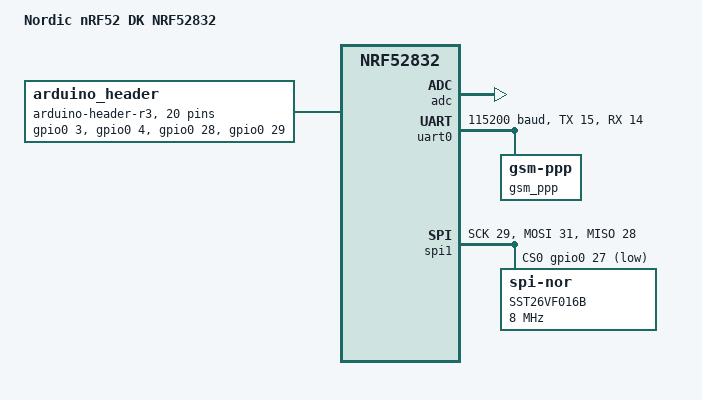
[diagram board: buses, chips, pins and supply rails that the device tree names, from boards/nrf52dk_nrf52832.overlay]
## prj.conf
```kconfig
# Ensure an MCUboot-compatible binary is generated.
CONFIG_NCS_SAMPLES_DEFAULTS=y

CONFIG_BT=y
CONFIG_BT_PERIPHERAL=y
CONFIG_BT_DEVICE_NAME="Nordic_LBS"

CONFIG_BT_BROADCASTER=y
CONFIG_BT_OBSERVER=y
CONFIG_BT_DEBUG_LOG=y

CONFIG_BT_LL_SW_SPLIT=y
CONFIG_BT_GATT_CLIENT=y

CONFIG_MAIN_STACK_SIZE= 10240

CONFIG_NFCT_PINS_AS_GPIOS=y
CONFIG_GPIO_AS_PINRESET=n
CONFIG_UART_INTERRUPT_DRIVEN=y
CONFIG_BOARD_ENABLE_DCDC=n
CONFIG_CLOCK_CONTROL_NRF_K32SRC_RC=y
CONFIG_CLOCK_CONTROL_NRF_K32SRC_XTAL=n

CONFIG_PM=y
CONFIG_PM_DEVICE=y

CONFIG_GPIO=y
CONFIG_NRFX_WDT=y
CONFIG_WATCHDOG=y

CONFIG_ADC=y


# Enable the LBS service
CONFIG_BT_LBS=y
CONFIG_BT_LBS_POLL_BUTTON=y
CONFIG_DK_LIBRARY=y

CONFIG_BOOTLOADER_MCUBOOT=y
CONFIG_LOG=y

CONFIG_SYSTEM_WORKQUEUE_STACK_SIZE= 8192

CONFIG_NORDIC_QSPI_NOR=n

CONFIG_FLASH=y
CONFIG_SPI=y
CONFIG_SPI_NOR=y
CONFIG_SPI_NOR_FLASH_LAYOUT_PAGE_SIZE=4096
CONFIG_SPI_NRFX_RAM_BUFFER_SIZE=32 

# Enable mcumgr.
CONFIG_MCUMGR=y

# Enable most core commands.
CONFIG_MCUMGR_CMD_IMG_MGMT=y
CONFIG_MCUMGR_CMD_OS_MGMT=y

# Ensure an MCUboot-compatible binary is generated.
CONFIG_BOOTLOADER_MCUBOOT=y

# Allow for large Bluetooth data packets.
CONFIG_BT_L2CAP_TX_MTU=252
CONFIG_BT_BUF_ACL_RX_SIZE=256

# Enable the Bluetooth (unauthenticated) and shell mcumgr transports.
CONFIG_MCUMGR_SMP_BT=y
CONFIG_MCUMGR_SMP_BT_AUTHEN=n



CONFIG_BOARD_ENABLE_DCDC=n
CONFIG_CLOCK_CONTROL_NRF_K32SRC_RC=y
CONFIG_CLOCK_CONTROL_NRF_K32SRC_XTAL=n
CONFIG_RTT_CONSOLE=y
CONFIG_UART_CONSOLE=n
CONFIG_JSON_LIBRARY=y

CONFIG_TINYCRYPT=y
CONFIG_TINYCRYPT_AES=y
CONFIG_TINYCRYPT_AES_CBC=y
CONFIG_CRYPTO=y
CONFIG_CRYPTO_TINYCRYPT_SHIM=y

# Allow for large Bluetooth data packets.
CONFIG_BT_L2CAP_TX_MTU=252
CONFIG_BT_BUF_ACL_RX_SIZE=256
#CONFIG_BT_SMP=y
#CONFIG_BT_SMP_APP_PAIRING_ACCEPT=y
#CONFIG_BT_FIXED_PASSKEY=y

CONFIG_BT_FILTER_ACCEPT_LIST=y
CONFIG_BT_CENTRAL=y
CONFIG_BT_SCAN=y
CONFIG_BT_SCAN_FILTER_ENABLE=y
CONFIG_BT_SCAN_NAME_CNT=1

CONFIG_BT_MAX_CONN=1
CONFIG_BT_CONN_CTX=y
CONFIG_BT_CONN_TX_MAX=10
CONFIG_BT_CREATE_CONN_TIMEOUT=100
CONFIG_BT_CONN_PARAM_UPDATE_TIMEOUT=10000
```

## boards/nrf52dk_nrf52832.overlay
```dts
/delete-node/ &slot0_partition;

/delete-node/ &slot1_partition;

/delete-node/ &boot_partition;
/*
 * Copyright (c) 2017 Shawn Nock <shawn@monadnock.ca>
 * Copyright (c) 2017 Linaro Limited
 *
 * SPDX-License-Identifier: Apache-2.0
 */


#include <nordic/nrf52832_qfaa.dtsi>

/ {
	model = "Nordic nRF52 DK NRF52832";
	compatible = "nordic,nrf52-dk-nrf52832";

	chosen {
		zephyr,console = &uart0;
		zephyr,shell-uart = &uart0;
		zephyr,uart-mcumgr = &uart0;
		zephyr,bt-mon-uart = &uart0;
		zephyr,bt-c2h-uart = &uart0;
		zephyr,sram = &sram0;
		zephyr,flash = &flash0;
		zephyr,code-partition = &slot0_partition;
		nordic,pm-ext-flash = &SST26VF016B;
	};

	leds {
		compatible = "gpio-leds";
		led0: led_0 {
			gpios = <&gpio0 17 GPIO_ACTIVE_LOW>;
			label = "Green LED 0";
			status = "disabled";
		};
		led1: led_1 {
			gpios = <&gpio0 18 GPIO_ACTIVE_LOW>;
			label = "Green LED 1";
			status = "disabled";
		};
		led2: led_2 {
			gpios = <&gpio0 19 GPIO_ACTIVE_LOW>;
			label = "Green LED 2";
			status = "disabled";
		};
		led3: led_3 {
			gpios = <&gpio0 20 GPIO_ACTIVE_LOW>;
			label = "Green LED 3";
			status = "disabled";
		};
	};

	pwmleds {
		compatible = "pwm-leds";
		pwm_led0: pwm_led_0 {
			pwms = <&pwm0 17>;
			status = "disabled";
		};
	};

	buttons {
		compatible = "gpio-keys";
		button0: button_0 {
			gpios = <&gpio0 13 (GPIO_PULL_UP | GPIO_ACTIVE_LOW)>;
			label = "Push button switch 0";
			status = "disabled";
		};
		button1: button_1 {
			gpios = <&gpio0 14 (GPIO_PULL_UP | GPIO_ACTIVE_LOW)>;
			label = "Push button switch 1";
			status = "disabled";
		};
		button2: button_2 {
			gpios = <&gpio0 15 (GPIO_PULL_UP | GPIO_ACTIVE_LOW)>;
			label = "Push button switch 2";
			status = "disabled";
		};
		button3: button_3 {
			gpios = <&gpio0 16 (GPIO_PULL_UP | GPIO_ACTIVE_LOW)>;
			label = "Push button switch 3";
			status = "disabled";
		};
	};

	arduino_header: connector {
		compatible = "arduino-header-r3";
		#gpio-cells = <2>;
		gpio-map-mask = <0xffffffff 0xffffffc0>;
		gpio-map-pass-thru = <0 0x3f>;
		gpio-map = <0 0 &gpio0 3 0>,    /* A0 */
		<1 0 &gpio0 4 0>,    /* A1 */
		<2 0 &gpio0 28 0>,    /* A2 */
		<3 0 &gpio0 29 0>,    /* A3 */
		<4 0 &gpio0 30 0>,    /* A4 */
		<5 0 &gpio0 31 0>,    /* A5 */
		//<6 0 &gpio0 11 0>,    /* D0 */
		//<7 0 &gpio0 12 0>,    /* D1 */
		<8 0 &gpio0 13 0>,    /* D2 */
		<9 0 &gpio0 14 0>,    /* D3 */
		<10 0 &gpio0 15 0>,    /* D4 */
		<11 0 &gpio0 16 0>,    /* D5 */
		<12 0 &gpio0 17 0>,    /* D6 */
		<13 0 &gpio0 18 0>,    /* D7 */
		<14 0 &gpio0 19 0>,    /* D8 */
		<15 0 &gpio0 20 0>,    /* D9 */
		<16 0 &gpio0 22 0>,    /* D10 */
		<17 0 &gpio0 23 0>,    /* D11 */
		<18 0 &gpio0 24 0>,    /* D12 */
		<19 0 &gpio0 25 0>,    /* D13 */
		<20 0 &gpio0 26 0>,    /* D14 */
		<21 0 &gpio0 27 0>;    /* D15 */
	};

	arduino_adc: analog-connector {
		status = "disabled";
		compatible = "arduino,uno-adc";
		#io-channel-cells = <1>;
		io-channel-map = <0 &adc 1>, /* A0 = P0.3 = AIN1 */
		                 <1 &adc 2>, /* A1 = P0.4 = AIN2 */
		                 <2 &adc 4>, /* A2 = P0.28 = AIN4 */
		                 <3 &adc 5>, /* A3 = P0.29 = AIN5 */
		                 <4 &adc 6>, /* A4 = P0.30 = AIN6 */
		                 <5 &adc 7>;    /* A5 = P0.31 = AIN7 */
	};

	/* These aliases are provided for compatibility with samples */
	aliases {
		led0 = &led0;
		led1 = &led1;
		led2 = &led2;
		led3 = &led3;
		pwm-led0 = &pwm_led0;
		sw0 = &button0;
		sw1 = &button1;
		sw2 = &button2;
		sw3 = &button3;
	};
};

&adc {
	status = "okay";
};

&gpiote {
	status = "okay";
};

&gpio0 {
	status = "okay";
};

arduino_serial: &uart0 {
	status = "okay";
	compatible = "nordic,nrf-uarte";
	current-speed = <115200>;
	tx-pin = <15>;
	rx-pin = <14>;
	gsm: gsm-modem {
		compatible = "zephyr,gsm-ppp";
		label = "gsm_ppp";
	};

	rts-pin = <26>;
	cts-pin = <25>;
};

arduino_i2c: &i2c0 {
	compatible = "nordic,nrf-twi";
	status = "disabled";
	sda-pin = <26>;
	scl-pin = <25>;
	clock-frequency = <I2C_BITRATE_FAST>;
	bme680@76 {
		compatible = "bosch,bme680";
		reg = <0x76>;
		label = "BME680";
	};
};

&i2c1 {
	compatible = "nordic,nrf-twi";
	status = "disabled";
	/* Cannot be used together with spi1. */
	/* status = "okay"; */
	sda-pin = <30>;
	scl-pin = <31>;
};

&pwm0 {
	status = "disabled";
	ch0-pin = <17>;
	ch0-inverted;
};

&spi0 {
	compatible = "nordic,nrf-spi";
	/* Cannot be used together with i2c0. */
	/* status = "okay"; */
	status = "disabled";
	sck-pin = <29>;
	mosi-pin = <31>;
	miso-pin = <28>;
};

&spi1 {
	compatible = "nordic,nrf-spi";
	status = "okay";
	sck-pin = <29>;
	mosi-pin = <31>;
	miso-pin = <28>;
	cs-gpios = <&gpio0 27 GPIO_ACTIVE_LOW>;
	SST26VF016B: SST26VF016B@0 {
		compatible = "jedec,spi-nor";
		reg = <0>;
		spi-max-frequency = <8000000>;
		requires-ulbpr;
		label = "SST26VF016B";
		jedec-id = [ BF 26 41  ];
		//sfdp-bfp = [
		//    e5 20 f1 ff  ff ff ff 03  44 eb 08 6b  08 3b 04 bb
		//    ee ff ff ff  ff ff 00 ff  ff ff 00 ff  0c 20 0f 52
		//    10 d8 00 ff  23 72 f5 00  82 ed 04 cc  44 83 68 44
		//    30 b0 30 b0  f7 c4 d5 5c  00 be 29 ff  f0 d0 ff ff
		//];
		size = <16777216>;
		//size = <67108864>;
		has-dpd;
		t-enter-dpd = <10000>;
		t-exit-dpd = <35000>;
	};
};

arduino_spi: &spi2 {
	compatible = "nordic,nrf-spi";
	status = "disabled";
	sck-pin = <25>;
	mosi-pin = <23>;
	miso-pin = <24>;
	cs-gpios = <&arduino_header 16 GPIO_ACTIVE_LOW>; /* D10 */
};

&flash0 {

	partitions {
		compatible = "fixed-partitions";
		#address-cells = <1>;
		#size-cells = <1>;

		boot_partition: partition@0 {
			label = "mcuboot";
			reg = <0x00000000 0xD000>;
		};
		slot0_partition: partition@d000 {
			label = "image-0";
			reg = <0x0000D000 0x31800>;
		};
		slot1_partition: partition@3e000 {
			label = "image-1";
			reg = <0x0003E800 0x31800>;
		};
		scratch_partition: partition@70000 {
			label = "image-scratch";
			reg = <0x00070000 0xa000>;
		};
		storage_partition: partition@7a000 {
			label = "storage";
			reg = <0x0007a000 0x00006000>;
		};
	};
};
```

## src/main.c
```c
#include <zephyr/types.h>
#include <zephyr.h>
#include <device.h>
#include <drivers/gpio.h>
#include "MQTT_Queue.h"
#include "NRF_SM.h"
#include "Com_State_Machine.h"
#include "BG95_WIFI_CONFIG.h"
#include <dfu/mcuboot.h>
#include "PIN_CTRL.h"
#include "battery_mgr.h"
#include "lock.h"
#include "WDT.h"
#include "BLE_mgr.h"
#include "timer.h"
#include "Comm_Mgr.h"
#include "FlashSPI.h"
#include "drivers/flash.h"

/***************************************************************************************************************

                                                        Definitions 

***************************************************************************************************************/

/***************************************************************************************************************

                                                         Variables 

***************************************************************************************************************/

/* Global timers to be manipulated from timer expire function and sleep cycles */
unsigned long epoch;
uint16_t ReportTimer = 0;
uint16_t gpsTimer = 0;
uint16_t BLETimer = 0;
uint32_t secCnt = 1;
/* Global Configurations to be mainpulated by different communication modules */
uint16_t report_total_period_minutes;
uint32_t BT_INT_VALUE;
uint16_t BT_DUR_VALUE;
uint16_t GPS_INT_VALUE;
uint16_t ALARMS_INT_VALUE;
uint16_t GPS_TRIALS_VALUE;
uint8_t Set_Mode = Demo_mode;
uint8_t Scan_Interval = BT_INT_1min;
uint8_t Scan_Duration = BT_DUR_5sec;
uint8_t GPS_Interval = GPS_INT_5min;

uint8_t ALARMS_Interval = ALARMS_INT_5min;
uint16_t alarmsTimer = 1440;

uint8_t GPS_Duration = GPS_TRIALS_5;
uint8_t Communication_Priority = COMM_NORMAL;
char WIFI_Password[50];
char WIFI_UserName[50];
char IP[128];
char config[10];

/* Thresholds */
int ET = 1;
int Limit_humidity_H = 80;
int Limit_humidity_L = 5;
int Limit_temperature_H = 40;
int Limit_temperature_L = 0;
int Limit_light_H = 200;
int Limit_light_L = 5;
int Firmware_Reset = 0;
bool Tampering_Flag = false;

bool OTAupdate = false;
bool Restart_Version = true;
bool PCCW_ICCID_FLAG = false;
bool SATCOM_ICCID_FLAG = false;
bool Restart_Version_Thuraya = true;

/***************************************************************************************************************

                                                      Extern Variables 

***************************************************************************************************************/

extern bool volatile TimerEvent250ms, TimerEvent1s, TimerEvent2s, TimerEvent4000ms, TimerEvent5s,
	TimerEvent8500ms, TimerEvent10s, TimerEvent30s, TimerEvent1min, Timer3min, TimerEvent5min,
	TimerEvent1hr, TimerEvent24h;
extern stGSM_t GSM_CR;
extern uint8_t Global_State;
extern stMQTTfifo_t myMQTTfifo;
extern stMQTTfifo_t flashFifo;
extern stMQTT_t_NRF *myM_NRF;
extern const struct device *flash_dev;
extern const struct device *dev2;
extern Assigned_Tags my_Tags;

static struct gpio_callback button_cb_data;

/****Threads Define****/
#define STACKSIZE 512
#define BLE_Thread_PRIORITY 7

/***************************************************************************************************************

                                                      Function definitions

***************************************************************************************************************/
extern void encryption_init();
void my_work_handler(struct k_work *work);
extern void parseConfig(char *config);
void system_init();
void checkForConfigUpdate();

void tamperingAlarmCb(const struct device *port, struct gpio_callback *cb, gpio_port_pins_t pins)
{
	//printk("FF\r\n");
}

void main(void)

{
	strcpy(WIFI_UserName, "\"test\"");
	strcpy(WIFI_Password, "\"test2022\"");
	strcpy(IP, "\"104.218.120.206\",8443");

	system_init();

	printk("\r\nCYCOLLECTOR USING NRF52832 - remotes 112 \r\n");
	printk("build time: " __DATE__ " " __TIME__ "\n");

	k_busy_wait(100000);

	if (!boot_is_img_confirmed()) {
		printk("confirming image\r\n");
		boot_write_img_confirmed();
	} else
		printk("image already confirmed");

	checkForConfigUpdate();

	if (Is_Bolt_Present() == 0) {
		Lock_Status = true;
		lockLastStatus = false;
		strcpy(config, "01111003");
	} else {
		Lock_Status = false;
		lockLastStatus = true;
		strcpy(config, "01111013");
	}
	flashLoadAssignedTags();
	parseConfig(config);
	while (1) {
		if (TimerEvent250ms == true) {
			WDT_FEED();
			//RGB_Debug(Set_Mode, Global_State, dev2);
			Global_State = Global_StateMachine(&GSM_CR, Global_State);
			TimerEvent250ms = false;
		}

		if (TimerEvent1s) {
			Check_If_Tampering_Exists();
			checkForConfigUpdate();
			if (Firmware_Reset == 1 && Global_State == 4) {
				NVIC_SystemReset();
			}
			TimerEvent1s = false;
		}

		if (TimerEvent2s) {
			Lock_Unlock();
			TimerEvent2s = false;
		}

		if (TimerEvent5min) {
			lock_log_tamper_if_exist();
			TimerEvent5min = false;
		}

		if (TimerEvent1hr) {
			logBatteryVoltage();
			TimerEvent1hr = false;
		}
		k_usleep(1);
	}
}

void system_init()
{
	COMM_MGR_INIT();
	MQTT_InitFIFO();
	FLASH_INIT();
	GPIO_INIT();
	batteryVolatageInit();
	BLE_INIT();
	WDT_INIT();
	TIMER_INIT(10);
	encryption_init();
	// gpio_init_callback(&button_cb_data, tamperingAlarmCb, BIT(PIN_Motor_input2_Connector_B));
	// gpio_add_callback(dev2, &button_cb_data);
}

void my_work_handler(struct k_work *work)
{
	/* do the processing that needs to be done periodically */

	static uint8_t secCnt5 = 1, secCnt2 = 1, minCnt = 1, min5Cnt = 1, min60Cnt = 1, hr24Cnt = 1;

	secCnt++;
	TimerEvent250ms = true;

	while (secCnt > 100) {
		TimerEvent250ms = false;
		TimerEvent1s = true;
		secCnt -= 100;
		secCnt5++;
		secCnt2++;
		minCnt++;
		epoch++;
		// printk("Epoch %lu\r\n", epoch);
		if (secCnt2 > 2) {
			TimerEvent2s = true;
			secCnt2 -= 2;
		}

		if (secCnt5 > 5) {
			TimerEvent5s = true;
			secCnt5 -= 5;
		}

		if (minCnt > 60) {
			TimerEvent1min = true;
			ReportTimer++;
			gpsTimer++;
			alarmsTimer++;
			if (alarmsTimer > 1440) {
				alarmsTimer = 1440;
			}
			BLETimer += 60;

			minCnt -= 60;
			min5Cnt++;
			min60Cnt++;

			if (min5Cnt > 5) {
				TimerEvent5min = true;
				min5Cnt -= 5;
			}

			if (min60Cnt > 60) {
				TimerEvent5min = true;
				min60Cnt -= 60;
				TimerEvent1hr = true;
				hr24Cnt++;
			}
			if (hr24Cnt > 24) {
				TimerEvent24h = true;
				hr24Cnt -= 24;
			}
		}
	}
}

void checkForConfigUpdate()
{
	switch (Set_Mode) {
	case Demo_mode:
		report_total_period_minutes = 5;
		break;
	case Normal_mode:
		report_total_period_minutes = 30;
		break;
	case PowerSaving_mode:
		report_total_period_minutes = 60;
		break;
	case UltraSaving_mode:
		report_total_period_minutes = 60 * 24;
		break;
	}

	switch (Scan_Interval) {
	case BT_INT_NEVER:
		BT_INT_VALUE = 0;
		break;
	case BT_INT_1min:
		BT_INT_VALUE = 60;
		break;
	case BT_INT_5min:
		BT_INT_VALUE = 60 * 5;
		break;
	case BT_INT_10min:
		BT_INT_VALUE = 60 * 10;
		break;

	case BT_INT_30min:
		BT_INT_VALUE = 60 * 30;
		break;

	case BT_INT_1hr:
		BT_INT_VALUE = 60 * 60;
		break;

	case BT_INT_6hr:
		BT_INT_VALUE = 60 * 60 * 6;
		break;

	case BT_INT_12hr:
		BT_INT_VALUE = 60 * 60 * 12;
		break;

	case BT_INT_24hr:
		BT_INT_VALUE = 60 * 60 * 24;
		break;
	}

	switch (Scan_Duration) {
	case BT_DUR_1sec:
		BT_DUR_VALUE = 1;
		break;
	case BT_DUR_5sec:
		BT_DUR_VALUE = 5;
		break;
	case BT_DUR_10sec:
		BT_DUR_VALUE = 10;
		break;
	case BT_DUR_30sec:
		BT_DUR_VALUE = 30;
		break;
	case BT_DUR_60sec:
		BT_DUR_VALUE = 60;
		break;
	}

	switch (GPS_Interval) {
	case GPS_INT_NEVER:
		GPS_INT_VALUE = 0;
		break;
	case GPS_INT_5min:
		GPS_INT_VALUE = 5;
		break;
	case GPS_INT_15min:
		GPS_INT_VALUE = 15;
		break;
	case GPS_INT_30min:
		GPS_INT_VALUE = 30;
		break;
	case GPS_INT_1hr:
		GPS_INT_VALUE = 60;
		break;
	case GPS_INT_6hr:
		GPS_INT_VALUE = 60 * 6;
		break;
	case GPS_INT_12hr:
		GPS_INT_VALUE = 60 * 12;
		break;
	case GPS_INT_24hr:
		GPS_INT_VALUE = 60 * 24;
		break;
	}

	switch (ALARMS_Interval) {
	case ALARMS_INT_NEVER:
		ALARMS_INT_VALUE = 0;
		break;
	case ALARMS_INT_1min:
		ALARMS_INT_VALUE = 1;
		break;
	case ALARMS_INT_5min:
		ALARMS_INT_VALUE = 5;
		break;
	case ALARMS_INT_15min:
		ALARMS_INT_VALUE = 15;
		break;
	case ALARMS_INT_1hr:
		ALARMS_INT_VALUE = 60;
		break;
	case ALARMS_INT_6hr:
		ALARMS_INT_VALUE = 60 * 6;
		break;
	case ALARMS_INT_24hr:
		ALARMS_INT_VALUE = 60 * 24;
		break;
	}

	switch (GPS_Duration) {
	case GPS_TRIALS_5:
		GPS_TRIALS_VALUE = 25;
		break;
	case GPS_TRIALS_10:
		GPS_TRIALS_VALUE = 35;
		break;
	case GPS_TRIALS_20:
		GPS_TRIALS_VALUE = 45;
		break;
	}
}

void CyTags_Missing_Alarm_Thread(void)
{
	while (1) {
		printk("CyTags_Missing_Alarm_Thread\r\n");
		for (int i = 0; i < Number_Of_Tags_Per_Lock; i++) {
			printk("Count of %u is %u\r\n", i, my_Tags.Tags_Info.Skip_Count[i]);
			if (my_Tags.Tags_Info.Skip_Count[i] >= 5) {
				printk("MISSING TAG IS:%s\r\n", my_Tags.Tags_Info.Ble_CyTag_Ids[i]);
				my_Tags.Tags_Info.Skip_Count[i] = 0;
				fEvent = true;
				myM_NRF = &myMQTTfifo.myMQTT[myMQTTfifo.EndPtr];
				myM_NRF->Message.stData.epoch = epoch;
				strcpy(myM_NRF->Message.stData.TagID,
				       my_Tags.Tags_Info.Ble_CyTag_Ids[i]);
				myM_NRF->Message.stData.Tag_Not_Detectable = 1;
				MQTT_PushFIFO(1);
			}
		}
		k_msleep(600 * 1000);
	}
}

K_THREAD_DEFINE(CyTags_Missing_Alarm, STACKSIZE, CyTags_Missing_Alarm_Thread, NULL, NULL, NULL,
		BLE_Thread_PRIORITY, 0, 0);
```

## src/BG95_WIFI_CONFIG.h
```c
#ifndef BG_WIFI_CONFIG_H
#define BG_WIFI_CONFIG_H

#include <stdint.h>

#define PRINT_K
#define SW_VERSION 114

extern char WIFI_Password[50];
extern char WIFI_UserName[50];
extern char IP[128];
extern char config[10];

extern uint8_t Set_Mode;
extern uint8_t Scan_Interval;
extern uint8_t Scan_Duration;
extern uint8_t GPS_Interval;
extern uint8_t ALARMS_Interval;
extern uint8_t GPS_Duration;
extern uint8_t Communication_Priority;
extern uint8_t Lock_Status;
extern uint8_t lockLastStatus;

typedef enum {

	Demo_mode,
	Normal_mode,
	PowerSaving_mode,
	UltraSaving_mode

} Modes;

typedef enum {

	BT_INT_NEVER,
	BT_INT_1min,
	BT_INT_5min,
	BT_INT_10min,
	BT_INT_30min,
	BT_INT_1hr,
	BT_INT_6hr,
	BT_INT_12hr,
	BT_INT_24hr

} BT_INT;

typedef enum {

	BT_DUR_1sec,
	BT_DUR_5sec,
	BT_DUR_10sec,
	BT_DUR_30sec,
	BT_DUR_60sec

} BT_DUR;

typedef enum {

	GPS_INT_NEVER,
	GPS_INT_5min,
	GPS_INT_15min,
	GPS_INT_30min,
	GPS_INT_1hr,
	GPS_INT_6hr,
	GPS_INT_12hr,
	GPS_INT_24hr

} GPS_INT;

typedef enum {

	GPS_TRIALS_5,
	GPS_TRIALS_10,
	GPS_TRIALS_20

} GPS_TRIALS;

typedef enum {

	ALARMS_INT_NEVER,
	ALARMS_INT_1min,
	ALARMS_INT_5min,
	ALARMS_INT_15min,
	ALARMS_INT_1hr,
	ALARMS_INT_6hr,
	ALARMS_INT_24hr

} ALARMS_INT;

typedef enum {

	COMM_NORMAL,
	COMM_GSM,
	COMM_WiFi,
	COMM_SATCOM

} COMM_CONTROL;

#endif //BG_WIFI_CONFIG_H
```

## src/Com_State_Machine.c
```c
#include "Com_State_Machine.h"
#include "BG95_WIFI_CONFIG.h"
#include <drivers/flash.h>
#include "bg95.h"
#include "thuraya.h"
#include "ESP_WROOM_02.h"
#include "NRF_SM.h"
#include <pm/pm.h>
#include <pm/device.h>
#include "bluetooth/bluetooth.h"

#define FLASH_SECTOR_SIZE 4096
#define DEVICE_NAME_LEN 15

#define BT_LE_ADV_CONN2                                                                            \
	BT_LE_ADV_PARAM(BT_LE_ADV_OPT_CONNECTABLE, BT_GAP_ADV_SLOW_INT_MIN,                        \
			BT_GAP_ADV_SLOW_INT_MAX, NULL)

#if (CONFIG_SPI_NOR - 0) || DT_NODE_HAS_STATUS(DT_INST(0, jedec_spi_nor), okay)
#define FLASH_DEVICE DT_LABEL(DT_INST(0, jedec_spi_nor))
#define FLASH_NAME "JEDEC SPI-NOR"
#endif

extern uint16_t ReportTimer;
extern uint16_t gpsTimer;
extern uint16_t alarmsTimer;
extern uint16_t BLETimer;
extern uint16_t report_total_period_minutes;
extern bool StartGPS;
extern uint8_t Lock_Status;
extern uint8_t lockLastStatus;
extern bool Locking;
extern uint32_t BT_INT_VALUE;
extern uint16_t BT_DUR_VALUE;
extern uint16_t GPS_INT_VALUE;
extern uint16_t ALARMS_INT_VALUE;
extern uint16_t GPS_TRIALS_VALUE;
extern stCmd_t3 ESP_CR;
extern stCmd_t2 Thuraya_CR;
extern stCmd_t BG95_CR;
extern stGSM_t GSM_CR;

extern const struct device *dev;
extern const struct device *dev2;
extern const struct device *aes_dev;

const struct device *cons;

extern struct k_timer my_timer;
extern uint32_t secCnt;

stMQTT_t_NRF *myM_NRF;

bool fEvent = false;
uint8_t Global_State = 0;

//BG Stuff
stCmd_t BG95_CR;
stGSM_t GSM_CR;
//Wifi Stuff
stCmd_t3 ESP_CR;

//Thuraya Stuff
stCmd_t2 Thuraya_CR;

uint8_t GPS_State = 1;
uint8_t BG95_State = 1;
uint8_t Thuraya_State = 1;
uint8_t ESP_State = 1;

uint8_t last_BG95_State = 0;
uint8_t last_Thuraya_State = 0;
uint8_t last_ESP_State = 0;
uint8_t last_GPS_State = 0;
uint8_t failure_counter = 0;
bool failure_satcom_flag = false;

char DEVICE_NAME[20];

const struct bt_data ad[] = {
	BT_DATA(BT_DATA_NAME_COMPLETE, DEVICE_NAME, DEVICE_NAME_LEN),
};

const struct bt_data sd[] = {
	//BT_DATA_BYTES(BT_DATA_UUID128_ALL, BT_UUID_LBS_VAL),
	BT_DATA_BYTES(BT_DATA_UUID128_ALL, 0x84, 0xaa, 0x60, 0x74, 0x52, 0x8a, 0x8b, 0x86, 0xd3,
		      0x4c, 0xb7, 0x1d, 0x1d, 0xdc, 0x53, 0x8d),
};

void initGSMstate(stGSM_t *stCR, uint32_t timeOut)
{
	// Init Buffers & States
	stCR->timeOut = timeOut;
	stCR->state = 0;
}

void parseGSMTimeTick(stGSM_t *stCR)
{
	if (stCR->timeOut > 10) {
		stCR->timeOut -= 10;
	} else {
		stCR->timeOut = 0;
		stCR->state = CP_RESPOND_TIMEOUT;
		//printk("Timeout\r\n");
	}
}

uint8_t Communication_Priority_Calculator(uint8_t Global_State, uint8_t Communication_Priority,
					  char *failure)
{
	switch (Global_State) {
	case backFromSleep:
		switch (Communication_Priority) {
		case COMM_NORMAL:
			return Wifi_State_Machine;
			break;
		case COMM_WiFi:
			return Wifi_State_Machine;
			break;
		case COMM_GSM:
			return BG95_State_Machine;
			break;
		case COMM_SATCOM:
			return Thuraya_State_Machine;
			break;
			break;
		}
	case Stop_Scanning:
		switch (Communication_Priority) {
		case COMM_NORMAL:
			return Wifi_State_Machine;
			break;
		case COMM_WiFi:
			return Wifi_State_Machine;
			break;
		case COMM_GSM:
			return BG95_State_Machine;
			break;
		case COMM_SATCOM:
			return Thuraya_State_Machine;
			break;
			break;
		}

	case sleep55:
		switch (Communication_Priority) {
		case COMM_NORMAL:
			return Wifi_State_Machine;
			break;
		case COMM_WiFi:
			return Wifi_State_Machine;
			break;
		case COMM_GSM:
			return BG95_State_Machine;
			break;
		case COMM_SATCOM:
			return Thuraya_State_Machine;
			break;
			break;
		}

	case Wifi_State_Machine:
		switch (Communication_Priority) {
		case COMM_NORMAL:
			return BG95_State_Machine;
			break;
		case COMM_WiFi:
			if (strcmp(failure, "WIFI_FAILURE") == 0) {
				failure_counter++;
				if (failure_counter >= 2) {
					failure_counter = 0;
					return BG95_State_Machine;
				}
			}

			return Wifi_State_Machine;
			break;
		case COMM_GSM:
			return BG95_State_Machine;
			break;
		case COMM_SATCOM:
			return Thuraya_State_Machine;
			break;
			break;
		}

	case BG95_State_Machine:
		switch (Communication_Priority) {
		case COMM_NORMAL:
			if (strcmp(failure, "BG95_FAILURE") == 0) {
				failure_counter++;
				if (failure_counter >= 3) {
					failure_counter = 0;
					if (failure_satcom_flag) {
						failure_satcom_flag = false;
						return sleep55;
					} else
						return Thuraya_State_Machine;
				}
			}
			return BG95_State_Machine;
			break;
		case COMM_WiFi:
			return Wifi_State_Machine;
			break;
		case COMM_GSM:
			if (strcmp(failure, "BG95_FAILURE") == 0) {
				failure_counter++;
				if (failure_counter >= 5) {
					failure_counter = 0;
					if (failure_satcom_flag) {
						failure_satcom_flag = false;
						return sleep55;
					} else
						return Thuraya_State_Machine;
				}
			}
			return BG95_State_Machine;
			break;
		case COMM_SATCOM:
			if (strcmp(failure, "BG95_FAILURE") == 0) {
				failure_counter++;
				if (failure_counter >= 3) {
					failure_counter = 0;
					if (failure_satcom_flag) {
						failure_satcom_flag = false;
						return sleep55;
					} else
						return Thuraya_State_Machine;
				}
			}
			return BG95_State_Machine;
			break;

			break;
		}

	case Thuraya_State_Machine:
		switch (Communication_Priority) {
		case COMM_NORMAL:
			if (strcmp(failure, "SATCOM_FAILURE") == 0) {
				failure_counter++;
				if (failure_counter >= 2) {
					failure_counter = 0;
					failure_satcom_flag = true;
					return sleep55;
				}
			}
			break;
		case COMM_WiFi:
			return Wifi_State_Machine;
			break;
		case COMM_GSM:
			return First_Time_BG95;
			break;
		case COMM_SATCOM:
			if (strcmp(failure, "SATCOM_FAILURE") == 0) {
				failure_counter++;
				if (failure_counter >= 2) {
					failure_counter = 0;
					failure_satcom_flag = true;
					return BG95_State_Machine;
				}
			}
			return Thuraya_State_Machine;
			break;
			break;
		}

		break;
	}

	return First_Time_BG95; // should not reach here
}

void RGB_Debug(uint8_t Set_Mode, uint8_t Global_State)
{
	if (Set_Mode == Demo_mode) {
		if (Global_State == First_Time_BG95 || Global_State == BG95_State_Machine) {
			//BLUE
			gpio_pin_set(dev2, 24, 0); //red
			gpio_pin_set(dev2, 23, 0); //green
			gpio_pin_set(dev2, 22, 1); //blue

		} else if (Global_State == Scanning || Global_State == Stop_Scanning) {
			//MINT
			gpio_pin_set(dev2, 24, 0); //red
			gpio_pin_set(dev2, 23, 1); //green
			gpio_pin_set(dev2, 22, 1); //blue

		} else if (Global_State == sleep55) {
			//OFF
			gpio_pin_set(dev2, 24, 0); //red
			gpio_pin_set(dev2, 23, 0); //green
			gpio_pin_set(dev2, 22, 0); //blue

		} else if (Global_State == Wifi_State_Machine) {
			//YELLOW
			gpio_pin_set(dev2, 24, 1); //red
			gpio_pin_set(dev2, 23, 1); //green
			gpio_pin_set(dev2, 22, 0); //blue

		} else if (Global_State == Thuraya_State_Machine) {
			//PURPLE
			gpio_pin_set(dev2, 24, 1); //red
			gpio_pin_set(dev2, 23, 0); //green
			gpio_pin_set(dev2, 22, 1); //blue

		} else if (Global_State == GPS_State_Machine) {
			//WHITE
			gpio_pin_set(dev2, 24, 1); //red
			gpio_pin_set(dev2, 23, 1); //green
			gpio_pin_set(dev2, 22, 1); //blue
		}
	} else {
		//OFF
		gpio_pin_set(dev2, 24, 0); //red
		gpio_pin_set(dev2, 23, 0); //green
		gpio_pin_set(dev2, 22, 0); //blue
	}
}

uint8_t Global_StateMachine(stGSM_t *stCR, uint8_t Global_State)
{
	parseGSMTimeTick(stCR);

	if (cons == NULL)
		cons = device_get_binding(CONSOLE_LABEL);

	switch (Global_State) {
	case First_Time_BG95:
		GSM_CR.Reportmode = BG95_reportMode;
		gpio_pin_set(dev2, 7, 1);
		gpio_pin_set(dev2, 8, 0);
		if (!((BG95_State == BG95_STATE_REPORT_SUCCESSFUL) ||
		      (BG95_State == BG95_FAILED_TO_REPORT))) {
			BG95_State = BG95_StateMachine(&BG95_CR, BG95_State);
		} else {
			BG95_State = BG95_STATE_WAKEUP;
			int err;
			strcpy(DEVICE_NAME, IMEI);
			err = bt_le_adv_start(BT_LE_ADV_CONN, ad, ARRAY_SIZE(ad), sd,
					      ARRAY_SIZE(sd));
			if (err) {
				printk("Advertising failed to start (err %d)\n", err);
			}
			failure_counter = 0;
			Global_State++;
			k_busy_wait(100);
			gpio_pin_set(dev2, 7, 0);
#ifdef PRINT_K
			printk("Time to scan\r\n");
#endif
		}
		break;

	case Scanning:

		initGSMstate(stCR, BT_DUR_VALUE * 1000);
		start_scan();
		Global_State++;

		break;

	case Stop_Scanning:

		if (stCR->state == CP_RESPOND_TIMEOUT) {
#ifdef PRINT_K
			printk("stop scanning\r\n");
#endif
			bt_le_scan_stop();
			//checkForLoggingQueueInFlash(spi, dev2, spi_cfg, aes_dev);
			//checkForBLEConn(dev2);
			Global_State++;
			if (ReportTimer >= report_total_period_minutes) {
				ReportTimer = 0;
				Global_State = Communication_Priority_Calculator(
					Global_State, Communication_Priority, NULL);
			}
		}

		break;

	case sleep55:
#ifdef PRINT_K
		printk("SLEEP\r\n");
#endif
		gpio_pin_set(dev2, 7, 0);
		gpio_pin_set(dev2, 8, 0);
		gpio_pin_set(dev2, 16, 0);
		gpio_pin_set(dev2, 2, 0);

		if (breakconn) {
			bt_le_adv_stop();
			k_timer_stop(&my_timer);
			gpio_pin_set(dev2, 24, 0);
			gpio_pin_set(dev2, 23, 0);
			gpio_pin_set(dev2, 22, 0);
			pm_device_action_run(cons, PM_DEVICE_ACTION_SUSPEND);
			k_sleep(K_SECONDS(55));
			pm_device_action_run(cons, PM_DEVICE_ACTION_RESUME);
			k_timer_start(&my_timer, K_MSEC(10), K_MSEC(10));
			secCnt = secCnt + (55 * 100);
		} else {
			k_sleep(K_SECONDS(55));
		}
		Global_State++;
		break;

	case backFromSleep:

		//int err;
		bt_le_adv_start(BT_LE_ADV_CONN, ad, ARRAY_SIZE(ad), sd, ARRAY_SIZE(sd));
		//if (err) {
		//      printk("Advertising failed to start (err %d)\n", err);
		//}

#ifdef PRINT_K
		printk("AWAKE\r\n");
		printk("fevent %d\r\n", fEvent);
		printk("gpstimer = %d , gpsInterval = %d , alarmstimer = %d , alarmsInterval = %d , reporttimer= %d & report interval = %d \r\n",
		       gpsTimer, GPS_INT_VALUE, alarmsTimer, ALARMS_INT_VALUE, ReportTimer,
		       report_total_period_minutes);
#endif
		if (gpsTimer >= GPS_INT_VALUE && GPS_INT_VALUE != 0) {
			gpsTimer = 0;
			Global_State = GPS_State_Machine;
		} else if ((alarmsTimer >= ALARMS_INT_VALUE && ALARMS_INT_VALUE != 0) && (fEvent)) {
			fEvent = false;
			alarmsTimer = 0;
			ReportTimer = 0;
			BLETimer = 0;
			Global_State = Communication_Priority_Calculator(
				Global_State, Communication_Priority, NULL);
			printk("result of comm calculator = %d", Global_State);
		} else if (BLETimer >= BT_INT_VALUE && BT_INT_VALUE != 0) {
			BLETimer = 0;
			Global_State = Scanning;
		} else if (ReportTimer >= report_total_period_minutes) {
			ReportTimer = 0;
			BLETimer = 0;
			Global_State = Communication_Priority_Calculator(
				Global_State, Communication_Priority, NULL);
		} else {
			initGSMstate(stCR, 100);
			Global_State = Stop_Scanning;
		}

		break;

	case Wifi_State_Machine:
		gpio_pin_set(dev2, 7, 1);
		gpio_pin_set(dev2, 8, 1);
		GSM_CR.Reportmode = WiFi_reportMode;
		if (ESP_State == ESP_FAILED_TO_REPORT) {
			ESP_State = ESP_WAKEUP_PULSE_ON;
			Global_State = Communication_Priority_Calculator(
				Global_State, Communication_Priority, "WIFI_FAILURE");
		} else if (ESP_State == ESP_STATE_REPORT_SUCCESSFUL) {
			failure_counter = 0;
			ESP_State = ESP_WAKEUP_PULSE_ON;
			Global_State = sleep55;
		} else {
			ESP_State = ESP_StateMachine(&ESP_CR, ESP_State);
		}

		break;

	case BG95_State_Machine:
		GSM_CR.Reportmode = BG95_reportMode;
		gpio_pin_set(dev2, 7, 1);
		gpio_pin_set(dev2, 8, 0);
		if (BG95_State == BG95_FAILED_TO_REPORT) {
			Global_State = Communication_Priority_Calculator(
				Global_State, Communication_Priority, "BG95_FAILURE");
			BG95_State = BG95_STATE_WAKEUP;
		} else if (BG95_State == BG95_STATE_REPORT_SUCCESSFUL) {
			failure_counter = 0;
			BG95_State = BG95_STATE_WAKEUP;
			Global_State = sleep55;
		} else if (BG95_State != BG95_STATE_HOLD) {
			BG95_State = BG95_StateMachine(&BG95_CR, BG95_State);
		} else {
			BG95_State = BG95_STATE_WAKEUP;
			Global_State = sleep55;
		}

		break;

	case Thuraya_State_Machine:
		GSM_CR.Reportmode = Thuraya_reportMode;
		gpio_pin_set(dev2, 7, 0);
		gpio_pin_set(dev2, 8, 1);
		if (Thuraya_State == Thuraya_STATE_FAILURE_TO_REPORT) {
			Thuraya_State = Thuraya_STATE_POWERKEY_ON;
			Global_State = Communication_Priority_Calculator(
				Global_State, Communication_Priority, "SATCOM_FAILURE");
		} else if (Thuraya_State != Thuraya_STATE_MODEL_HOLD) {
			Thuraya_State = Thuraya_StateMachine(&Thuraya_CR, Thuraya_State);
		} else {
			Thuraya_State = Thuraya_STATE_POWERKEY_ON;
			Global_State = sleep55;
		}

		break;

	case GPS_State_Machine:
		GSM_CR.Reportmode = GPS_reportMode;
		gpio_pin_set(dev2, 7, 1);
		gpio_pin_set(dev2, 8, 0);
		if (GPS_State == GPS_STATE_SLEEP) {
			GPS_State = GPS_STATE_WAKEUP;
			Global_State = sleep55;
		} else {
			GPS_State = GPS_StateMachine(&BG95_CR, GPS_State);
		}
		break;
	}

	return Global_State;
}
```

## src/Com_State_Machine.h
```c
#ifndef COM_STATE_H
#define COM_STATE_H

#include <zephyr/types.h>
#include <zephyr.h>



//#define Scan_Duration 5000
#define SleepInterval 5
#define CONSOLE_LABEL DT_LABEL(DT_CHOSEN(zephyr_console))


typedef enum {
  First_Time_BG95, 
  Scanning,
  Stop_Scanning,
  sleep55,
  backFromSleep,
  Wifi_State_Machine,
  BG95_State_Machine,
  Thuraya_State_Machine,
  GPS_State_Machine
}
global_pstate;

typedef enum{
  BG95_reportMode,
  WiFi_reportMode,
  Thuraya_reportMode,
  GPS_reportMode
} reportingModes;


typedef struct {
  uint32_t state;
  uint32_t timeOut;
  uint8_t Reportmode;
}
stGSM_t;


void my_timer_handler(struct k_timer *dummy);
uint8_t Global_StateMachine(stGSM_t * stCR, uint8_t Global_State);
void initGSMstate(stGSM_t * stCR, uint32_t timeOut);
void parseGSMTimeTick(stGSM_t * stCR);
void RGB_Debug(uint8_t Set_Mode, uint8_t Global_State);


#endif // COM_STATE_H
```

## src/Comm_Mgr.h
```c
#ifndef COMM_MGR_H
#define  COMM_MGR_H

#include <zephyr.h>
#include <device.h>

#define UART_DEV DT_LABEL(DT_NODELABEL(uart0))

void COMM_MGR_INIT ();

#endif
```

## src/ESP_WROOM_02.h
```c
#ifndef ESP_WROOM_02_H
#define ESP_WROOM_02_H

#include <zephyr/types.h>
#include <zephyr.h>
#include "StateMachines_Config.h"

#ifdef __cplusplus
//extern "C" {
#endif

#define ESP_MQTT_CONN "AT+MQTTCONN=0,\"104.218.120.206\",8883,0"
#define TopicPath "\"MIE\""

#define _USE_MQTT_

typedef enum {

	ESP_STATE_SLEEP0, //0
	ESP_WAKEUP_PULSE_ON,
	ESP_WAKEUP_PULSE_OFF,
	ESP_STATE_STARTUP,
	ESP_STATE_STARTUP2,
	ESP_STATE_MODE, //5
	ESP_STATE_WIFICONN,
	ESP_STATE_NETW,
	ESP_SIGNAL_QUERY,
	ESP_STATE_SINGLE_CONNNECTION,
	ESP_STATE_TIME,
	ESP_STATE_SSL_CLIENT, //10
	ESP_STATE_MTCNF,
	ESP_STATE_MTCONN,
	ESP_STATE_MTCONN_DEFAULT,
	ESP_STATE_MTPUB,
	ESP_STATE_MTDATA, //15
	ESP_STATE_MTSUB,
	ESP_SUB_1,
	ESP_SUB_2,
	ESP_SUB_3,
	ESP_SUB_4,
	ESP_SUB_5,
	ESP_SUB_6,
	ESP_SUB_7,
	ESP_SUB_CHECK,
	ESP_STATE_MTUSUB,
	ESP_STATE_RESUB,
	ESP_UNSUB, //20
	ESP_SUB_RECEIVED, //21
	ESP_SUB_RECEIVED2,

	ESP_STATE_MTCLSE,
	ESP_STATE_DISCON, //24
	ESP_STATE_SLEEP,
	ESP_STATE_BREAK,
	ESP_STATE_REPORT_SUCCESSFUL,
	ESP_FAILED_TO_REPORT,
	ESP_SSL_CONNECTION,
	ESP_SSL_MAX_SIZE,
	ESP_SSL_SEND_SIZE,
	ESP_SSL_SEND_URL,
	ESP_WAIT_IPD,
	ESP_READ_BYTES,
	ESP_READ_BYTES2

} ESP_pstate;

typedef struct {
	uint32_t state;
	uint32_t timeOut;
	char sKey[SKEY_BUFFER_SIZE];
	char sCmd[SCMD_BUFFER_SIZE];
	char sRespond[SRESPOND_BUFFER_SIZE];
} stCmd_t3;

uint8_t initParseCmd3(stCmd_t3 *stCR, uint32_t mode, uint32_t timeOut, char *sKey);
uint8_t parseCmd3(stCmd_t3 *stCR, unsigned char Ch);
void parseCmdTimeTick3(stCmd_t3 *stCR);
uint8_t ESP_StateMachine(stCmd_t3 *stCR, uint32_t ESP_State);

#endif /* ESP_WROOM_02_H */
```

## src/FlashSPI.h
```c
#ifndef FLASH_SPI_H
#define FLASH_SPI_H

#define FLASH_SECTOR_SIZE 4096
#define FLASH_CYTAG_ASSIGN 0x1FA000

int FLASH_INIT();
int writeFifoToFlash();
int importFifoFromFlash();
int removeFifoFromFlash();

#endif
```

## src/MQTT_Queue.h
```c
#ifndef MQTT_QUEUE_H
#define MQTT_QUEUE_H

#include <stdint.h>
#include <stdbool.h>
#include <stdio.h>
#include <string.h>
#include "NRF_SM.h"

#define MQTT_QUEUE_SIZE 70	

extern char sTopicPath[80 + 1];

typedef struct {
	uint16_t StartPtr; // Pointer to oldest entry or EndPtr if empty
	uint16_t EndPtr; // Pointer to next empty place to store a new entry
	stMQTT_t_NRF myMQTT[MQTT_QUEUE_SIZE];
} __attribute__((packed)) stMQTTfifo_t;

void MQTT_InitFIFO(void);
void MQTT_PushFIFO(uint8_t event);
uint16_t MQTT_PullFIFO(char *S, char *type);
void Move_mqtt_pointer(stMQTTfifo_t *fifo);

#endif // MQTT_QUEUE_H
```

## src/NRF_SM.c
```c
#include "NRF_SM.h"
#include "MQTT_Queue.h"
#include <bluetooth/bluetooth.h>
#include <bluetooth/hci.h>
#include <bluetooth/conn.h>
#include <bluetooth/uuid.h>
#include <bluetooth/gatt.h>
#include <bluetooth/scan.h>
#include <bluetooth/services/lbs.h>

#define PRINT_K

bool name = false;
int8_t Tag_Strength;

char temp2[80];
char *temp3;
uint8_t TH, TL, HH, HL, LH, LL, PH, PL, BH, BL, TF;

extern stMQTTfifo_t myMQTTfifo;

extern int ET;
extern int Limit_humidity_H;
extern int Limit_humidity_L;
extern int Limit_temperature_H;
extern int Limit_temperature_L;
extern int Limit_light_H;
extern int Limit_light_L;

Assigned_Tags my_Tags;

bool eir_found(struct bt_data *data, void *user_data)
{
	char Tag_ID[Tag_ID_Length];
	char temp[25];
	char *addr = user_data;
	// char dev[BT_ADDR_LE_STR_LEN];
	// bt_addr_le_to_str(addr, dev, sizeof(dev));
	stMQTT_t_NRF *myM_NRF;

	switch (data->type) {
	case BT_DATA_NAME_COMPLETE:
		for (int i = 0; i < data->data_len; i++) {
			char c8;
			memcpy(&c8, &data->data[i], sizeof(c8));
			sprintf(temp, "%c", c8);
			strcat(temp2, temp);
			printk("%c", c8);
		}
		if (strcmp(temp2, "NRF") == 0) {
			name = true;
		}
		temp2[0] = '\0';
		break;

	case BT_DATA_MANUFACTURER_DATA:
		myM_NRF = &myMQTTfifo.myMQTT[myMQTTfifo.EndPtr];
		if (name == true) {
			//printk("I should enter\r\n");
			for (int i = 0; i < data->data_len; i++) {
				char c7;
				uint8_t c8;
				memcpy(&c7, &data->data[i], sizeof(c7));
				//printk("%02X",c7);
				//printk("\r\n");
				memcpy(&c8, &data->data[i], sizeof(c8));
				switch (i) {
				case 2:
					sprintf(temp, "%d", c8);
					TH = atoi(temp);
					//printk("TH = %d\r\n",TH);
					break;

				case 3:
					sprintf(temp, "%d", c8);
					TL = atoi(temp);
					//printk("TL = %d\r\n",TL);
					break;

				case 4:
					sprintf(temp, "%d", c8);
					HH = atoi(temp);
					//printk("HH = %d\r\n",HH);
					break;

				case 5:
					sprintf(temp, "%d", c8);
					HL = atoi(temp);
					//printk("HL = %d\r\n",HL);
					break;

				case 6:
					sprintf(temp, "%d", c8);
					LH = atoi(temp);
					//printk("LH = %d\r\n",LH);
					break;

				case 7:
					sprintf(temp, "%d", c8);
					LL = atoi(temp);
					//printk("LL = %d\r\n",LL);
					break;

				case 8:
					sprintf(temp, "%d", c8);
					PH = atoi(temp);
					//printk("PH = %d\r\n",PH);
					break;

				case 9:
					sprintf(temp, "%d", c8);
					PL = atoi(temp);
					//printk("PL = %d\r\n",PL);
					break;

				case 10:
					sprintf(temp, "%d", c8);
					BH = atoi(temp);
					//printk("PL = %d\r\n",BH);
					break;

				case 11:
					sprintf(temp, "%d", c8);
					BL = atoi(temp);
					//printk("PL = %d\r\n",BL);
					break;

				case 12:
					sprintf(temp, "%d", c8);
					TF = atoi(temp);
					//printk("PL = %d\r\n",TF);
					break;
				}
				memset(temp2, 0, sizeof(temp2));
			}

			//printk("[DEVICE]: %s\r\n",dev);
			memset(Tag_ID, '\0', sizeof(Tag_ID));
			strncpy(Tag_ID, addr, Tag_ID_Length - 1);

			//printk("%s\r\n",Tag_ID);

			printk("TAG FOUND\r\n");
			printk("{T:%lu,ID:%s,T1:%d.%d,H1:%d.%d,L1:%d.%d,prox:%d.%d,rssi:%i}\r\n",
			       epoch, Tag_ID, TH, TL, HH, HL, LH, LL, PH, PL, Tag_Strength);
			for (int i = 0; i < Number_Of_Tags_Per_Lock; i++) {
				//printk("Ble_CyTag_Ids is:%s\r\n",my_Tags.Tags_Info.Ble_CyTag_Ids[i]);
				//printk("Tag ID is:%s\r\n",Tag_ID);

				if (strcmp(my_Tags.Tags_Info.Ble_CyTag_Ids[i], Tag_ID) == 0) {
					my_Tags.Tags_Info.Skip_Count[i] = 0;
					myM_NRF->Message.stData.Temp_High = TH;
					myM_NRF->Message.stData.Temp_Low = TL;
					myM_NRF->Message.stData.Hum_High = HH;
					myM_NRF->Message.stData.Hum_Low = HL;
					myM_NRF->Message.stData.Light_High = LH;
					myM_NRF->Message.stData.Light_Low = LL;
					myM_NRF->Message.stData.Distance_High = PH;
					myM_NRF->Message.stData.Distance_Low = PL;
					myM_NRF->Message.stData.Batt_High = BH;
					myM_NRF->Message.stData.Batt_Low = BL;
					myM_NRF->Message.stData.Temp_Negative = TF;
					myM_NRF->Signal_Strength = Tag_Strength;
					myM_NRF->Message.stData.epoch = epoch;
					strcpy(myM_NRF->Message.stData.TagID, Tag_ID);
					if (ET == 1) {
						if (TF == 0) {
							if (TH >= Limit_temperature_H ||
							    TH <= Limit_temperature_L) {
								fEvent = true;
							}
						}
						if (TF > 0) {
							if ((TH * -1) >= Limit_temperature_H ||
							    (TH * -1) <= Limit_temperature_L) {
								fEvent = true;
							}
						}
						if (HH >= Limit_humidity_H ||
						    HH <= Limit_humidity_L) {
							fEvent = true;
						}
						if (LH >= Limit_light_H || LH <= Limit_light_L) {
							fEvent = true;
						}
#ifdef PRINT_K
//printk("\r\nThresholds Enabled\r\n");
#endif
					} else if (ET == 0) {
#ifdef PRINT_K
//printk("\r\nThresholds Disabled\r\n");
#endif
					}
					MQTT_PushFIFO(1);
				}
			}
			name = false;
		}
		break;
	}
	return true;
}

void start_scan(void)
{
	int err;
	// Use active scanning and disable duplicate filtering to handle any
	// devices that might update their advertising data at runtime. //
	struct bt_le_scan_param scan_param = {
		.type = BT_LE_SCAN_TYPE_PASSIVE,
		.options = BT_LE_SCAN_OPT_FILTER_DUPLICATE,
		.interval = BT_GAP_SCAN_FAST_INTERVAL,
		.window = BT_GAP_SCAN_FAST_WINDOW,
	};
	for (int i = 0; i < my_Tags.Assigned_Tags_Count; i++) {
		my_Tags.Tags_Info.Skip_Count[i]++;
		//printk("skip count %u value is:%u\r\n",i,my_Tags.Tags_Info.Skip_Count[i]);
	}
	// err = bt_le_scan_start(&scan_param, device_found);
	err = bt_scan_start(BT_SCAN_TYPE_SCAN_ACTIVE);
	if (err) {
#ifdef PRINT_K
		printk("Scanning failed to start (err %d)\n", err);
#endif
		return;
	}
#ifdef PRINT_K
	printk("Scanning successfully started\n");
#endif
}
```

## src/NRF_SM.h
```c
#ifndef NRF_SM_H
#define NRF_SM_H

#ifdef __cplusplus
extern "C" {
#endif

#include <stdint.h>
#include <stdbool.h>
#include <stdio.h>
#include <string.h>
#include <time.h>
#include <stdlib.h>

#define Tag_ID_Length (uint8_t)18
#define Number_Of_Tags_Per_Lock 10

extern char IMEI[20];
extern char PCCW_ICCID[25];
extern char SATCOM_ICCID[25];

typedef struct {
	uint16_t Part1; //7100
} __attribute__((packed)) stNameType_NRF;

typedef struct {
	unsigned long epoch;
	char TagID[Tag_ID_Length];
	uint8_t Temp_High;
	uint8_t Temp_Low;
	uint8_t Hum_High;
	uint8_t Hum_Low;
	uint8_t Light_High;
	uint8_t Light_Low;
	uint8_t Distance_High;
	uint8_t Distance_Low;
	uint8_t Batt_High;
	uint8_t Batt_Low;
	uint8_t Temp_Negative;
	int16_t latH;
	int32_t latL;
	int16_t lngH;
	int32_t lngL;
	int16_t latH_lbs;
	int32_t latL_lbs;
	int16_t lngH_lbs;
	int32_t lngL_lbs;
	uint16_t battery_V;
	uint8_t tamper;
	uint8_t Tag_Not_Detectable;
	int8_t GSM_RSSI;
	int8_t WiFi_RSSI;
	int8_t SATCOM_RSSI;
	uint8_t Lock_Feedback;
} __attribute__((packed)) stInputData_NRF;

typedef struct {
	stNameType_NRF stName;
	stInputData_NRF stData;
} __attribute__((packed)) _frameTypeData_NRF;

typedef struct {
	int8_t Signal_Strength;
	_frameTypeData_NRF Message;
} __attribute__((packed)) stMQTT_t_NRF;

typedef struct {
	char Ble_CyTag_Ids[Number_Of_Tags_Per_Lock][Tag_ID_Length];
	int8_t Skip_Count[Number_Of_Tags_Per_Lock];
} __attribute__((packed)) Tags_Info;

typedef struct {
	int8_t Assigned_Tags_Count;
	Tags_Info Tags_Info;
} __attribute__((packed)) Assigned_Tags;

extern volatile bool breakconn;
extern unsigned long epoch;
extern bool fEvent;

void start_scan(void);

#endif /* NRF_SM_H */
```

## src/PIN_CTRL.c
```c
#include "PIN_CTRL.h"
#include <drivers/gpio.h>

const struct device *dev2;

void GPIO_INIT()
{
	dev2 = device_get_binding("GPIO_0");
	gpio_pin_configure(dev2, PIN_MuxCTRL1, GPIO_OUTPUT);
	gpio_pin_configure(dev2, PIN_MuxCTRL2, GPIO_OUTPUT);
	gpio_pin_configure(dev2, PIN_THURAYA_OFF, GPIO_OUTPUT | GPIO_INPUT);
	gpio_pin_configure(dev2, PIN_3V3_EX_EN, GPIO_OUTPUT | GPIO_INPUT);
	gpio_pin_configure(dev2, PIN_SCL, GPIO_OUTPUT);
	gpio_pin_configure(dev2, PIN_SDA, GPIO_OUTPUT);

	gpio_pin_configure(dev2, PIN_nRF_PWRKEY, GPIO_OUTPUT);
	gpio_pin_configure(dev2, PIN_5V_EN, GPIO_OUTPUT);
	gpio_pin_configure(dev2, PIN_M_EN, GPIO_OUTPUT);
	gpio_pin_configure(dev2, PIN_PWM, GPIO_OUTPUT);
	gpio_pin_configure(dev2, PIN_DIR, GPIO_OUTPUT);
	gpio_pin_configure(dev2, PIN_SAT_RESET, GPIO_OUTPUT);
	gpio_pin_configure(dev2, PIN_SAT_PWR_ON, GPIO_OUTPUT);
	gpio_pin_configure(dev2, PIN_LG, GPIO_OUTPUT);
	gpio_pin_configure(dev2, PIN_LR, GPIO_OUTPUT);
	gpio_pin_configure(dev2, PIN_LB, GPIO_OUTPUT);
	gpio_pin_configure(dev2, PIN_ChargeFeedback, GPIO_INPUT);
	gpio_pin_configure(dev2, PIN_Motor_input2_Connector_B, GPIO_OUTPUT);
	gpio_pin_set(dev2, PIN_Motor_input2_Connector_B, 0);

	gpio_pin_configure(dev2, PIN_Motor_input1_Switch_Feedback, GPIO_INPUT | GPIO_ACTIVE_HIGH);
	//gpio_pin_interrupt_configure(dev2,PIN_Motor_input1_Switch_Feedback,GPIO_INT_EDGE_RISING);

	gpio_pin_configure(dev2, PIN_Motor_Output_1_Connector_A,
			   GPIO_INPUT | GPIO_ACTIVE_HIGH | GPIO_PULL_UP);
	gpio_pin_interrupt_configure(dev2, PIN_Motor_Output_1_Connector_A, GPIO_INT_EDGE_RISING);

	gpio_pin_set(dev2, PIN_MuxCTRL1, 0);
	gpio_pin_set(dev2, PIN_MuxCTRL2, 0);
	gpio_pin_set(dev2, PIN_5V_EN, 0);
	gpio_pin_set(dev2, PIN_DIR, 0);
	gpio_pin_set(dev2, PIN_M_EN, 0);
	gpio_pin_set(dev2, PIN_PWM, 0);
	gpio_pin_set(dev2, PIN_SAT_PWR_ON, 0);
	gpio_pin_set(dev2, PIN_SAT_RESET, 0);
	gpio_pin_set(dev2, PIN_LR, 0);
	gpio_pin_set(dev2, PIN_LB, 0);
	gpio_pin_set(dev2, PIN_LG, 1);
	gpio_pin_set(dev2, PIN_THURAYA_OFF, 0); //thuraya powerswitch
	gpio_pin_set(dev2, PIN_3V3_EX_EN, 1); // 3v3 powerswitch (microbus & flash memory)
}
```
